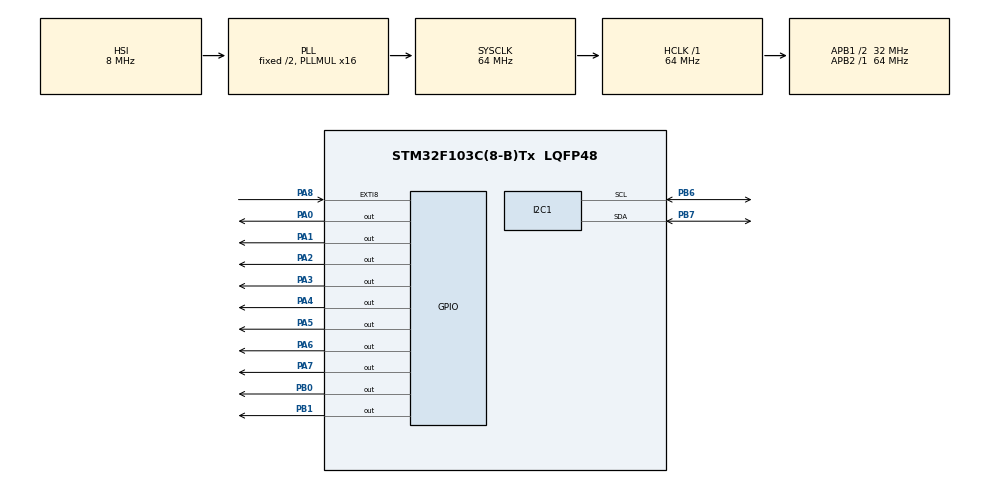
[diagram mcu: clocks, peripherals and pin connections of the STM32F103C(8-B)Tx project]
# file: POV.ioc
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Mcu.Family=STM32F1
Mcu.Name=STM32F103C(8-B)Tx
Mcu.Package=LQFP48
NVIC.EXTI9_5_IRQn=true\:0\:0\:false\:false\:true\:true\:true\:true
NVIC.PriorityGroup=NVIC_PRIORITYGROUP_4
PA0-WKUP.GPIO_Speed=GPIO_SPEED_FREQ_HIGH
PA0-WKUP.PinState=GPIO_PIN_RESET
PA0-WKUP.Signal=GPIO_Output
PA1.GPIO_Speed=GPIO_SPEED_FREQ_HIGH
PA1.PinState=GPIO_PIN_RESET
PA1.Signal=GPIO_Output
PA13.Mode=Serial_Wire
PA13.Signal=SYS_JTMS-SWDIO
PA14.Mode=Serial_Wire
PA14.Signal=SYS_JTCK-SWCLK
PA2.GPIO_Speed=GPIO_SPEED_FREQ_HIGH
PA2.Signal=GPIO_Output
PA3.GPIO_Speed=GPIO_SPEED_FREQ_HIGH
PA3.Signal=GPIO_Output
PA4.GPIO_Speed=GPIO_SPEED_FREQ_HIGH
PA4.Signal=GPIO_Output
PA5.GPIO_Speed=GPIO_SPEED_FREQ_HIGH
PA5.Signal=GPIO_Output
PA6.GPIO_Speed=GPIO_SPEED_FREQ_HIGH
PA6.Signal=GPIO_Output
PA7.GPIO_Speed=GPIO_SPEED_FREQ_HIGH
PA7.Signal=GPIO_Output
PA8.GPIO_ModeDefaultEXTI=GPIO_MODE_IT_FALLING
PA8.GPIO_PuPd=GPIO_PULLUP
PA8.Signal=GPXTI8
PB0.GPIO_Speed=GPIO_SPEED_FREQ_HIGH
PB0.Signal=GPIO_Output
PB1.GPIO_Speed=GPIO_SPEED_FREQ_HIGH
PB1.Signal=GPIO_Output
PB6.Mode=I2C
PB6.Signal=I2C1_SCL
PB7.Mode=I2C
PB7.Signal=I2C1_SDA
PD0-OSC_IN.Mode=HSE-External-Oscillator
PD0-OSC_IN.Signal=RCC_OSC_IN
PD1-OSC_OUT.Mode=HSE-External-Oscillator
PD1-OSC_OUT.Signal=RCC_OSC_OUT
ProjectManager.HeapSize=0x200
ProjectManager.StackSize=0x400
ProjectManager.TargetToolchain=STM32CubeIDE
RCC.AHBFreq_Value=64000000
RCC.APB1CLKDivider=RCC_HCLK_DIV2
RCC.APB1Freq_Value=32000000
RCC.APB1TimFreq_Value=64000000
RCC.APB2Freq_Value=64000000
RCC.APB2TimFreq_Value=64000000
RCC.HCLKFreq_Value=64000000
RCC.PLLMUL=RCC_PLL_MUL16
RCC.SYSCLKFreq_VALUE=64000000
RCC.SYSCLKSource=RCC_SYSCLKSOURCE_PLLCLK
RCC.USBFreq_Value=64000000
TIM2.Prescaler=71
VP_TIM2_VS_ClockSourceINT.Mode=Internal
board=custom

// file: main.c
/* USER CODE BEGIN Header */
/**
  ******************************************************************************
  * @file           : main.c
  * @brief          : Main program body
  ******************************************************************************
  * @attention
  *
  * Copyright (c) 2026 STMicroelectronics.
  * All rights reserved.
  *
  * This software is licensed under terms that can be found in the LICENSE file
  * in the root directory of this software component.
  * If no LICENSE file comes with this software, it is provided AS-IS.
  *
  ******************************************************************************
  */
/* USER CODE END Header */
#include "main.h"
/* USER CODE BEGIN Includes */
#include <stdio.h>
#include <string.h>
/* USER CODE END Includes */

I2C_HandleTypeDef hi2c1;

TIM_HandleTypeDef htim2;

/* USER CODE BEGIN PV */

// Font chữ "bạn chọn" (Cao 8 pixel, rộng 5 pixel)
// Được ánh xạ vào 8 LED đầu tiên (PA0 đến PA7), 2 LED PB0 PB1 để tắt làm viền dưới
const uint16_t FONT_CR7[5][5] = {
	{0x000E, 0x001F, 0x003E, 0x001F, 0x000E}, // Trái tim (Heart)
    {0x003E, 0x0041, 0x0041, 0x0041, 0x0022}, // C
    {0x007F, 0x0009, 0x0019, 0x0029, 0x0046}, // R
    {0x0001, 0x0071, 0x0009, 0x0005, 0x0003},  // 7
	{0x000E, 0x001F, 0x003E, 0x001F, 0x000E} // Trái tim (Heart)
};

// Font chữ số Đồng hồ (0-9 và dấu 2 chấm)
const uint16_t FONT_CLOCK[11][5] = {
    {0x003E, 0x0051, 0x0049, 0x0045, 0x003E}, // 0
    {0x0000, 0x0042, 0x007F, 0x0040, 0x0000}, // 1
    {0x0042, 0x0061, 0x0051, 0x0049, 0x0046}, // 2
    {0x0021, 0x0041, 0x0045, 0x004B, 0x0031}, // 3
    {0x0018, 0x0014, 0x0012, 0x007F, 0x0010}, // 4
    {0x0027, 0x0045, 0x0045, 0x0045, 0x0039}, // 5
    {0x003C, 0x004A, 0x0049, 0x0049, 0x0030}, // 6
    {0x0001, 0x0071, 0x0009, 0x0005, 0x0003}, // 7
    {0x0036, 0x0049, 0x0049, 0x0049, 0x0036}, // 8
    {0x0006, 0x0049, 0x0049, 0x0029, 0x001E}, // 9
    {0x0000, 0x0036, 0x0036, 0x0000, 0x0000}  // 10 (hay dấu ":")
};

// --- CÔNG TẮC CHỌN CHẾ ĐỘ ---
// Thay đổi số này: 0 = Hiển thị chữ , 1 = Hiển thị Đồng hồ
uint8_t display_mode = 1;

volatile uint8_t sync_flag = 0;
volatile uint32_t rotation_time_us = 0;
volatile uint32_t last_interrupt_time = 0;
// Biến lưu thời gian đọc từ RTC
uint32_t last_rtc_read = 0;
/* USER CODE END PV */

void SystemClock_Config(void);
static void MX_GPIO_Init(void);
static void MX_I2C1_Init(void);
static void MX_TIM2_Init(void);
/* USER CODE BEGIN PFP */

void delay_us(uint16_t us);
uint8_t bcd_to_dec(uint8_t val);
void RTC_GetTime(uint8_t *h, uint8_t *m, uint8_t *s);
void POV_WriteColumn(uint16_t column_data);
void POV_DisplayChar(char c);
void POV_DisplayString(char* str);

/* USER CODE END PFP */

/* USER CODE BEGIN 0 */

// 1. Hàm trễ vi giây (An toàn cho Timer 16-bit)
void delay_us(uint16_t us) {
    uint16_t start = __HAL_TIM_GET_COUNTER(&htim2);
    while ((uint16_t)(__HAL_TIM_GET_COUNTER(&htim2) - start) < us);
}

// 2. Hàm xuất tín hiệu siêu tốc bằng thanh ghi BSRR (Cho PA0-PA7 và PB0-PB1)
void POV_WriteColumn(uint16_t column_data) {
    uint16_t portA_data = column_data & 0x00FF; // Lấy 8 bit thấp cho PA0-PA7
    uint16_t portB_data = (column_data & 0x0300) >> 8; // Lấy bit 8, 9 cho PB0-PB1

    // 16 bit cao dùng để tắt (Reset), 16 bit thấp dùng để bật (Set)
    GPIOA->BSRR = (0x00FF << 16) | portA_data;
    GPIOB->BSRR = (0x0003 << 16) | portB_data;
}

// 3. Hàm Ngắt Cảm Biến Hall (Kèm lọc nhiễu 5ms vì motor 4500 RPM quay cực nhanh)
void HAL_GPIO_EXTI_Callback(uint16_t GPIO_Pin) {
    if (GPIO_Pin == GPIO_PIN_8) {
    	uint16_t current_time = __HAL_TIM_GET_COUNTER(&htim2);
    	        uint16_t time_diff = current_time - last_interrupt_time;

    	        // Lọc nhiễu: Thời gian 1 vòng phải lớn hơn 5000us (5ms)
    	        if (time_diff > 5000) {
    	            rotation_time_us = time_diff; // Lưu thẳng ra micro-giây
    	            last_interrupt_time = current_time;
    	            sync_flag = 1;
        }
    }
}
// Hàm cần thiết để sử dụng RTC DS3231
// 1. Hàm chuyển đổi định dạng BCD (từ RTC) sang số thập phân bình thường
uint8_t bcdToDec(uint8_t val) {
    return (uint8_t)( (val/16*10) + (val%16) );
}

// 2. Hàm chuyển đổi số thập phân thành BCD (Dùng khi muốn CÀI ĐẶT giờ)
uint8_t decToBcd(uint8_t val) {
    return (uint8_t)( (val/10*16) + (val%10) );
}

// 3. Hàm cài đặt giờ (Chỉ chạy 1 lần để thiết lập thời gian cho mạch)
void RTC_SetTime(uint8_t hr, uint8_t min, uint8_t sec) {
    uint8_t time_data[3];
    time_data[0] = decToBcd(sec);
    time_data[1] = decToBcd(min);
    time_data[2] = decToBcd(hr);
    // Ghi dữ liệu vào thanh ghi 0x00 của chip DS3231 (Địa chỉ I2C là 0xD0)
    HAL_I2C_Mem_Write(&hi2c1, 0xD0, 0x00, 1, time_data, 3, 100);
}
/* USER CODE END 0 */

int main(void)
{

  /* MCU Configuration--------------------------------------------------------*/

  /* Reset of all peripherals, Initializes the Flash interface and the Systick. */
  HAL_Init();

  /* Configure the system clock */
  SystemClock_Config();

  /* Khởi tạo tất cả các ngoại vi đã được cấu hình */
  MX_GPIO_Init();
  MX_I2C1_Init();
  MX_TIM2_Init();
  /* USER CODE BEGIN 2 */

      HAL_TIM_Base_Start(&htim2);
      // BỎ COMMENT DÒNG DƯỚI ĐÂY ĐỂ NẠP GIỜ VN HIỆN TẠI VÀO MẠCH
      // Sau khi nạp code chạy thử lần 1,comment dòng này lại (//) và nạp lại code lần 2
     // RTC_SetTime(23, 15, 00);

  /* USER CODE END 2 */

  /* Infinite loop */
  /* USER CODE BEGIN WHILE */
      // Tạo mảng chứa 8 ký tự của đồng hồ: H H : M M : S S
        uint8_t clock_digits[8] = {0,0,10,0,0,10,0,0};
  while (1)
  {
	  // --- NẾU ĐANG Ở CHẾ ĐỘ ĐỒNG HỒ: ĐỌC RTC MỖI DƯỚI 1 GIÂY ---
	        if (display_mode == 1 && (HAL_GetTick() - last_rtc_read > 1000)) {
	            uint8_t rtcData[3];
	            // Đọc 3 byte thời gian từ DS3231
	            if (HAL_I2C_Mem_Read(&hi2c1, 0xD0, 0x00, 1, rtcData, 3, 100) == HAL_OK) {
	                uint8_t sec = bcdToDec(rtcData[0] & 0x7F);
	                uint8_t min = bcdToDec(rtcData[1]);
	                uint8_t hr  = bcdToDec(rtcData[2] & 0x3F);

	                // Tách các con số để đưa vào mảng hiển thị (VD: 22 -> 2 và 2)
	                clock_digits[0] = hr / 10;
	                clock_digits[1] = hr % 10;
	                // clock_digits[2] = 10 (Là dấu hai chấm, đã cấu hình mặc định)
	                clock_digits[3] = min / 10;
	                clock_digits[4] = min % 10;
	                // clock_digits[5] = 10 (Là dấu hai chấm)
	                clock_digits[6] = sec / 10;
	                clock_digits[7] = sec % 10;
	            }
	            last_rtc_read = HAL_GetTick(); // Cập nhật lại mốc thời gian
	        }

	        // --- TIẾN HÀNH QUÉT LED KHI NAM CHÂM LƯỚT QUA ---
	        if (sync_flag == 1) {
	            sync_flag = 0;

	            // Tính toán độ rộng của nét chữ (Chia 150 vòng tròn)
	            uint32_t col_delay = rotation_time_us / 160;
	            uint32_t offset_delay = rotation_time_us / 6;

	            delay_us(offset_delay);

	            // ==========================================
	            // LỰA CHỌN 1: VẼ ĐỒNG HỒ hay display == 1
	            // ==========================================
	            if (display_mode == 1) {
	                for (int i = 0; i < 8; i++) { // Quét 8 ký tự
	                    for (int col = 0; col < 5; col++) {
	                        POV_WriteColumn(FONT_CLOCK[clock_digits[i]][col]);
	                        delay_us(col_delay);
	                        // Khử nhòe
	                        POV_WriteColumn(0x0000);
	                        delay_us(col_delay / 2);
	                    }
	                    // Khoảng cách giữa các số
	                    POV_WriteColumn(0x0000);
	                    delay_us(col_delay * 2);
	                }
	            }
	            // ==========================================
	            // LỰA CHỌN 2: VẼ CHỮ hay display == 0
	            // ==========================================
	            else {
	                for (int i = 0; i < 5; i++) {
	                    for (int col = 0; col < 5; col++) {
	                        POV_WriteColumn(FONT_CR7[i][col]);
	                        delay_us(col_delay);

	                        POV_WriteColumn(0x0000);
	                        delay_us(col_delay / 2);
	                    }
	                    POV_WriteColumn(0x0000);
	                    delay_us(col_delay * 2);
	                }
	            }

	            POV_WriteColumn(0x0000); // Tắt sạch chờ vòng tiếp theo
	        }
    /* USER CODE END WHILE */

  }
}

void SystemClock_Config(void)
{
  RCC_OscInitTypeDef RCC_OscInitStruct = {0};
  RCC_ClkInitTypeDef RCC_ClkInitStruct = {0};

  /** Initializes the RCC Oscillators according to the specified parameters
  * in the RCC_OscInitTypeDef structure.
  */
  RCC_OscInitStruct.OscillatorType = RCC_OSCILLATORTYPE_HSI;
  RCC_OscInitStruct.HSIState = RCC_HSI_ON;
  RCC_OscInitStruct.HSICalibrationValue = RCC_HSICALIBRATION_DEFAULT;
  RCC_OscInitStruct.PLL.PLLState = RCC_PLL_ON;
  RCC_OscInitStruct.PLL.PLLSource = RCC_PLLSOURCE_HSI_DIV2;
  RCC_OscInitStruct.PLL.PLLMUL = RCC_PLL_MUL16;
  if (HAL_RCC_OscConfig(&RCC_OscInitStruct) != HAL_OK)
  {
    Error_Handler();
  }

  /** Initializes the CPU, AHB and APB buses clocks
  */
  RCC_ClkInitStruct.ClockType = RCC_CLOCKTYPE_HCLK|RCC_CLOCKTYPE_SYSCLK
                              |RCC_CLOCKTYPE_PCLK1|RCC_CLOCKTYPE_PCLK2;
  RCC_ClkInitStruct.SYSCLKSource = RCC_SYSCLKSOURCE_PLLCLK;
  RCC_ClkInitStruct.AHBCLKDivider = RCC_SYSCLK_DIV1;
  RCC_ClkInitStruct.APB1CLKDivider = RCC_HCLK_DIV2;
  RCC_ClkInitStruct.APB2CLKDivider = RCC_HCLK_DIV1;

  if (HAL_RCC_ClockConfig(&RCC_ClkInitStruct, FLASH_LATENCY_2) != HAL_OK)
  {
    Error_Handler();
  }
}

static void MX_I2C1_Init(void)
{

  hi2c1.Instance = I2C1;
  hi2c1.Init.ClockSpeed = 100000;
  hi2c1.Init.DutyCycle = I2C_DUTYCYCLE_2;
  hi2c1.Init.OwnAddress1 = 0;
  hi2c1.Init.AddressingMode = I2C_ADDRESSINGMODE_7BIT;
  hi2c1.Init.DualAddressMode = I2C_DUALADDRESS_DISABLE;
  hi2c1.Init.OwnAddress2 = 0;
  hi2c1.Init.GeneralCallMode = I2C_GENERALCALL_DISABLE;
  hi2c1.Init.NoStretchMode = I2C_NOSTRETCH_DISABLE;
  if (HAL_I2C_Init(&hi2c1) != HAL_OK)
  {
    Error_Handler();
  }

}

static void MX_TIM2_Init(void)
{

  TIM_ClockConfigTypeDef sClockSourceConfig = {0};
  TIM_MasterConfigTypeDef sMasterConfig = {0};

  htim2.Instance = TIM2;
  htim2.Init.Prescaler = 71;
  htim2.Init.CounterMode = TIM_COUNTERMODE_UP;
  htim2.Init.Period = 65535;
  htim2.Init.ClockDivision = TIM_CLOCKDIVISION_DIV1;
  htim2.Init.AutoReloadPreload = TIM_AUTORELOAD_PRELOAD_DISABLE;
  if (HAL_TIM_Base_Init(&htim2) != HAL_OK)
  {
    Error_Handler();
  }
  sClockSourceConfig.ClockSource = TIM_CLOCKSOURCE_INTERNAL;
  if (HAL_TIM_ConfigClockSource(&htim2, &sClockSourceConfig) != HAL_OK)
  {
    Error_Handler();
  }
  sMasterConfig.MasterOutputTrigger = TIM_TRGO_RESET;
  sMasterConfig.MasterSlaveMode = TIM_MASTERSLAVEMODE_DISABLE;
  if (HAL_TIMEx_MasterConfigSynchronization(&htim2, &sMasterConfig) != HAL_OK)
  {
    Error_Handler();
  }

}

static void MX_GPIO_Init(void)
{
  GPIO_InitTypeDef GPIO_InitStruct = {0};

  /* GPIO Ports Clock Enable */
  __HAL_RCC_GPIOD_CLK_ENABLE();
  __HAL_RCC_GPIOA_CLK_ENABLE();
  __HAL_RCC_GPIOB_CLK_ENABLE();

  /*Configure GPIO pin Output Level */
  HAL_GPIO_WritePin(GPIOA, GPIO_PIN_0|GPIO_PIN_1|GPIO_PIN_2|GPIO_PIN_3
                          |GPIO_PIN_4|GPIO_PIN_5|GPIO_PIN_6|GPIO_PIN_7, GPIO_PIN_RESET);

  HAL_GPIO_WritePin(GPIOB, GPIO_PIN_0|GPIO_PIN_1, GPIO_PIN_RESET);

  /*Configure GPIO pins : PA0 PA1 PA2 PA3 PA4 PA5 PA6 PA7 */
  GPIO_InitStruct.Pin = GPIO_PIN_0|GPIO_PIN_1|GPIO_PIN_2|GPIO_PIN_3
                          |GPIO_PIN_4|GPIO_PIN_5|GPIO_PIN_6|GPIO_PIN_7;
  GPIO_InitStruct.Mode = GPIO_MODE_OUTPUT_PP;
  GPIO_InitStruct.Pull = GPIO_NOPULL;
  GPIO_InitStruct.Speed = GPIO_SPEED_FREQ_HIGH;
  HAL_GPIO_Init(GPIOA, &GPIO_InitStruct);

  /*Configure GPIO pins : PB0 PB1 */
  GPIO_InitStruct.Pin = GPIO_PIN_0|GPIO_PIN_1;
  GPIO_InitStruct.Mode = GPIO_MODE_OUTPUT_PP;
  GPIO_InitStruct.Pull = GPIO_NOPULL;
  GPIO_InitStruct.Speed = GPIO_SPEED_FREQ_HIGH;
  HAL_GPIO_Init(GPIOB, &GPIO_InitStruct);

  /*Configure GPIO pin : PA8 */
  GPIO_InitStruct.Pin = GPIO_PIN_8;
  GPIO_InitStruct.Mode = GPIO_MODE_IT_FALLING;
  GPIO_InitStruct.Pull = GPIO_PULLUP;
  HAL_GPIO_Init(GPIOA, &GPIO_InitStruct);

  /* EXTI interrupt init*/
  HAL_NVIC_SetPriority(EXTI9_5_IRQn, 0, 0);
  HAL_NVIC_EnableIRQ(EXTI9_5_IRQn);

}

void Error_Handler(void)
{
  __disable_irq();
  while (1)
  {
  }
}
